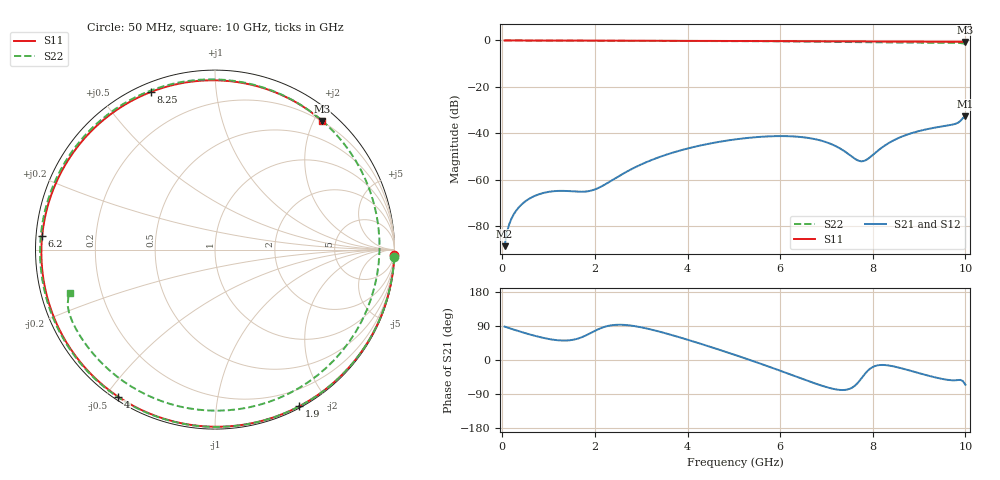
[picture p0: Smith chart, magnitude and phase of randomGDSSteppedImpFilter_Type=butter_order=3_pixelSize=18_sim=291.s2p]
! freq	dB(S11)	phase(S11)	dB(S12)	phase(S12)
!  dB(S21)	phase(S21)	dB(S22)	phase(S22)
!S-par simulation data
#  GHz  S  DB  R 50
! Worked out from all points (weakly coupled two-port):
!   200 points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, 50 MHz to 10 GHz, reference 50 ohm
!   highest |S21| = -32.74 dB at 10 GHz (marker M1); lowest = -88.7 dB at 50 MHz (marker M2)
!   lowest |S11| = -0.6 dB at 10 GHz (marker M3), VSWR 28.80, Z = 9.58 + j106 ohm
!   |S11| at or under -10 dB: nowhere
!   |S22| runs from -1.5 to 0.0 dB; largest |S21 - S12| = 0
!   S11 on the Smith chart (normalised r, x): 50 MHz: 0, -68; 1.9 GHz: 0.02, -1.67; 4 GHz: 0.01, -0.54; 6.2 GHz: 0.02, +0.04; 8.25 GHz: 0.04, +0.67; 10 GHz: 0.19, +2.12
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0.05  -0.00 -1.7  -88.69 88.2  -88.69 88.2  -0.00 -2.4
0.15  -0.01 -5.0  -79.19 84.1  -79.19 84.1  -0.01 -7.0
0.4  -0.02 -13.4  -71.04 74.4  -71.04 74.4  -0.03 -18.5
0.7  -0.03 -23.3  -67.03 63.9  -67.03 63.9  -0.04 -32.2
1.75  -0.07 -57.1  -65.21 61.8  -65.21 61.8  -0.09 -77.5
1.9  -0.08 -61.8  -64.83 70.6  -64.83 70.6  -0.10 -83.6
2.6  -0.10 -83.1  -57.54 92.9  -57.54 92.9  -0.13 -110.7
3.4  -0.14 -106.4  -50.22 74.7  -50.22 74.7  -0.16 -139.9
4  -0.16 -123.4  -46.59 53.5  -46.59 53.5  -0.19 -161.3
5.05  -0.22 -152.4  -42.61 12.4  -42.61 12.4  -0.27 158.9
5.65  -0.26 -169.0  -41.45 -12.9  -41.45 -12.9  -0.33 132.6
6.2  -0.30 175.5  -41.29 -37.1  -41.29 -37.1  -0.42 104.2
6.7  -0.34 160.9  -42.34 -59.5  -42.34 -59.5  -0.52 73.3
7.1  -0.37 149.0  -44.65 -74.9  -44.65 -74.9  -0.61 44.3
7.55  -0.41 135.0  -50.09 -73.3  -50.09 -73.3  -0.73 7.9
7.8  -0.43 127.0  -52.00 -41.2  -52.00 -41.2  -0.79 -13.3
8.25  -0.46 112.2  -45.44 -13.2  -45.44 -13.2  -0.88 -50.8
8.35  -0.47 108.9  -44.17 -14.6  -44.17 -14.6  -0.89 -58.8
8.7  -0.49 96.9  -40.90 -24.5  -40.90 -24.5  -0.93 -85.3
9.05  -0.52 84.6  -38.81 -36.5  -38.81 -36.5  -0.96 -109.1
9.6  -0.56 64.8  -36.71 -52.1  -36.71 -52.1  -0.98 -142.0
10  -0.60 50.2  -32.74 -65.3  -32.74 -65.3  -1.47 -163.4
